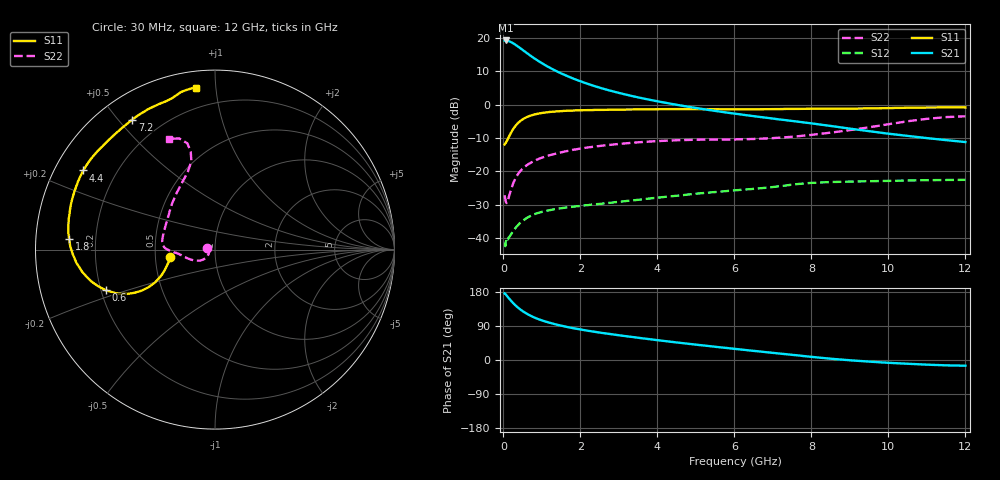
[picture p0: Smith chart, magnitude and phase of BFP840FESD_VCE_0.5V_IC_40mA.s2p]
! Infineon Technologies  Discrete & RF Semiconductors
! BFP840FESD
! VCE =  0.5 V,  IC =  40 mA
! Common Emitter S-Parameters:  May 2012
# GHz  S  MA  R  50
!  f  S11  S21  S12  S22
! GHz  MAG  ANG  MAG  ANG  MAG  ANG  MAG  ANG
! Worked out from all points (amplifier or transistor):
!   103 points, 30 MHz to 12 GHz, reference 50 ohm
!   highest |S21| = 19.2 dB at 60 MHz (marker M1)
!   |S21| within 3 dB of that: start of sweep to 517.6 MHz
!   unconditionally stable (mu >= 1): start of sweep to end of sweep
!   at 400 MHz: K = 3.04, MAG = 18.8 dB, |S12| = -35.8 dB
!   at 3.7 GHz: K = 2.85, MAG = 7.5 dB, |S12| = -28.2 dB
!   at 12 GHz: K = 2.95, MAG = -1.9 dB, |S12| = -22.5 dB
!   S11 on the Smith chart (normalised r, x): 30 MHz: 0.60, -0.05; 600 MHz: 0.22, -0.17; 1.8 GHz: 0.10, +0.04; 4.4 GHz: 0.08, +0.28; 7.2 GHz: 0.10, +0.54; 12 GHz: 0.09, +0.89
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0.03  0.2527 -170.6  9.105 175.6  0.0082 16.8  0.0439 166.7
0.06  0.2674 -165.1  9.125 173.0  0.009 20.3  0.0352 -179.9
0.13  0.3188 -155.7  8.936 164.1  0.0101 24.0  0.0394 -150.4
0.2  0.3824 -151.2  8.589 155.9  0.0115 31.8  0.054 -139.2
0.3  0.4699 -150.8  7.953 145.4  0.0139 35.9  0.0759 -138.6
0.35  0.5096 -151.8  7.599 140.6  0.0151 36.4  0.0859 -140.0
0.45  0.5753 -154.5  6.903 132.5  0.0174 37.2  0.1029 -143.6
0.6  0.6485 -159.5  5.957 122.5  0.02 36.1  0.123 -149.9
0.8  0.7101 -165.4  4.934 112.3  0.0229 34.6  0.1441 -157.1
0.9  0.7314 -168.1  4.523 108.1  0.0239 33.7  0.1525 -159.9
1.1  0.7624 -172.6  3.847 101.2  0.0256 32.6  0.1676 -164.7
1.4  0.7928 -178.1  3.12 92.9  0.0276 31.2  0.187 -169.8
1.8  0.8148 175.9  2.47 84.2  0.0296 30.9  0.2101 -174.2
2.1  0.825 172.0  2.129 78.8  0.031 31.5  0.2242 -175.8
3  0.8414 162.5  1.496 65.3  0.035 32.8  0.2575 -179.3
4.1  0.8543 151.8  1.094 51.1  0.041 34.4  0.286 176.5
4.4  0.8557 149.0  1.017 47.5  0.0427 34.4  0.291 174.9
6.1  0.8506 133.9  0.721 28.4  0.0526 32.9  0.3022 159.5
7.2  0.8584 122.5  0.597 16.7  0.0603 31.8  0.3201 144.1
8.5  0.8688 111.2  0.479 3.4  0.0693 23.9  0.3806 124.3
10.5  0.8975 102.3  0.34 -9.9  0.0731 16.8  0.5629 103.9
12  0.9059 96.6  0.275 -15.1  0.0748 14.8  0.6683 112.6
